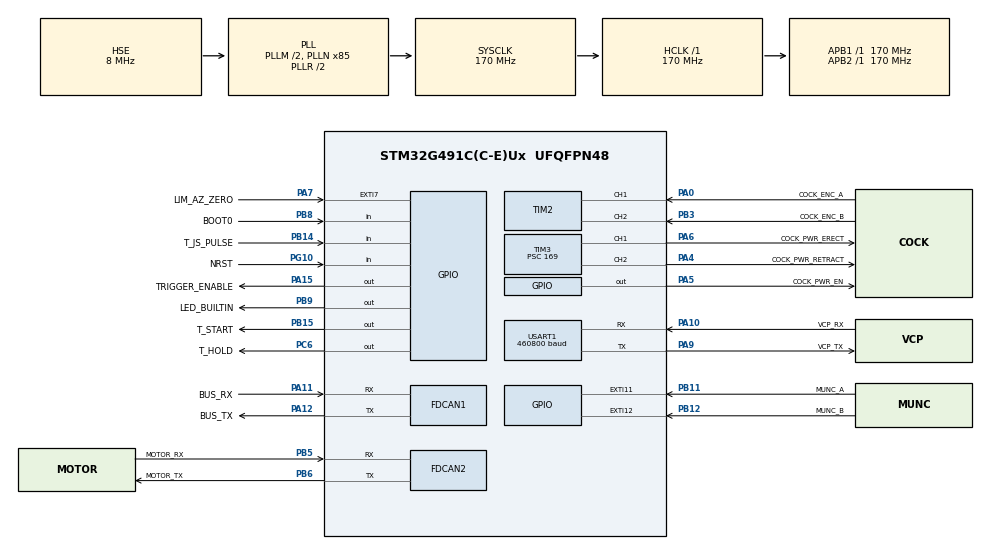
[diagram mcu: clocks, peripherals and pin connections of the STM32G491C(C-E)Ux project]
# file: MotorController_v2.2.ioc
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FDCAN1.CalculateBaudRateNominal=499999
FDCAN1.CalculateTimeBitNominal=2000
FDCAN1.CalculateTimeQuantumNominal=11.764705882352942
FDCAN1.ClockDivider=FDCAN_CLOCK_DIV1
FDCAN1.DataSyncJumpWidth=8
FDCAN1.DataTimeSeg1=8
FDCAN1.DataTimeSeg2=8
FDCAN1.ExtFiltersNbr=8
FDCAN1.NominalPrescaler=2
FDCAN1.NominalSyncJumpWidth=22
FDCAN1.NominalTimeSeg1=147
FDCAN1.NominalTimeSeg2=22
FDCAN1.StdFiltersNbr=28
FDCAN2.CalculateBaudRateNominal=999999
FDCAN2.CalculateTimeQuantumNominal=5.882352941176471
FDCAN2.DataPrescaler=1
FDCAN2.DataSyncJumpWidth=16
FDCAN2.DataTimeSeg1=17
FDCAN2.DataTimeSeg2=16
FDCAN2.ExtFiltersNbr=8
FDCAN2.FrameFormat=FDCAN_FRAME_CLASSIC
FDCAN2.NominalPrescaler=1
FDCAN2.NominalSyncJumpWidth=22
FDCAN2.NominalTimeSeg1=147
FDCAN2.NominalTimeSeg2=22
FDCAN2.StdFiltersNbr=28
FREERTOS.INCLUDE_uxTaskGetStackHighWaterMark2=1
FREERTOS.INCLUDE_vTaskDelayUntil=1
FREERTOS.Mutexes01=mx_motor_state,Dynamic,NULL;mx_weapon_state,Dynamic,NULL;mx_motor_ext_state,Dynamic,NULL
FREERTOS.Queues01=q_manager,6,uint16_t,0,Dynamic,NULL,NULL
FREERTOS.Tasks01=TManager,2,512,t_manager,As weak,NULL,Dynamic,NULL,NULL;TBus,-2,1024,t_bus,As external,NULL,Dynamic,NULL,NULL;TMotor,-1,1024,t_motor,As external,NULL,Dynamic,NULL,NULL;TWeapon,1,1024,t_weapon,As external,NULL,Dynamic,NULL,NULL
FREERTOS.Timers01=timWeapon,tim_weapon_callback,osTimerPeriodic,As external,NULL,Dynamic,NULL;timMotor,tim_motor_callback,osTimerPeriodic,As external,NULL,Dynamic,NULL
FREERTOS.configENABLE_FPU=1
FREERTOS.configMAX_TASK_NAME_LEN=64
FREERTOS.configMINIMAL_STACK_SIZE=256
FREERTOS.configTOTAL_HEAP_SIZE=0x10000
FREERTOS.configUSE_TIMERS=1
IWDG.Prescaler=IWDG_PRESCALER_256
IWDG.Reload=625
IWDG.Window=625
Mcu.Family=STM32G4
Mcu.Name=STM32G491C(C-E)Ux
Mcu.Package=UFQFPN48
Mcu.UserConstants=RTOS_USE_STACK_HIGH_WATER,0;START_ARR_60ms,6000;START_ARR_100ms,10000;START_ARR_300ms,30000
NVIC.EXTI15_10_IRQn=true\:5\:0\:false\:false\:false\:true\:true\:true\:true
NVIC.FDCAN1_IT0_IRQn=true\:5\:0\:true\:false\:true\:true\:true\:true\:true
NVIC.FDCAN2_IT0_IRQn=true\:5\:0\:true\:false\:true\:true\:true\:true\:true
NVIC.PriorityGroup=NVIC_PRIORITYGROUP_4
NVIC.TIM7_IRQn=true\:15\:0\:false\:false\:true\:false\:false\:true\:true
NVIC.TimeBase=TIM7_IRQn
NVIC.TimeBaseIP=TIM7
PA0.GPIO_Label=COCK_ENC_A
PA0.GPIO_PuPd=GPIO_PULLUP
PA0.Signal=S_TIM2_CH1
PA1.GPIO_Label=IMU_DE
PA1.Signal=USART2_DE
PA10.GPIO_Label=VCP_RX
PA10.GPIO_PuPd=GPIO_PULLUP
PA10.Mode=Asynchronous
PA10.Signal=USART1_RX
PA11.GPIO_Label=BUS_RX
PA11.GPIO_Speed=GPIO_SPEED_FREQ_VERY_HIGH
PA11.Mode=FDCAN_Activate
PA11.Signal=FDCAN1_RX
PA12.GPIO_Label=BUS_TX
PA12.GPIO_Speed=GPIO_SPEED_FREQ_VERY_HIGH
PA12.Mode=FDCAN_Activate
PA12.Signal=FDCAN1_TX
PA13.Mode=Serial_Wire
PA13.Signal=SYS_JTMS-SWDIO
PA14.Mode=Serial_Wire
PA14.Signal=SYS_JTCK-SWCLK
PA15.GPIO_Label=TRIGGER_ENABLE
PA15.GPIO_ModeDefaultOutputPP=GPIO_MODE_OUTPUT_PP
PA15.GPIO_PuPd=GPIO_NOPULL
PA15.PinState=GPIO_PIN_RESET
PA15.Signal=GPIO_Output
PA2.GPIO_Label=IMU_RX
PA2.Signal=USART2_TX
PA3.GPIO_Label=IMU_TX
PA3.GPIO_PuPd=GPIO_PULLUP
PA3.Signal=USART2_RX
PA4.GPIO_Label=COCK_PWR_RETRACT
PA4.Signal=S_TIM3_CH2
PA5.GPIO_Label=COCK_PWR_EN
PA5.GPIO_PuPd=GPIO_PULLDOWN
PA5.Signal=GPIO_Output
PA6.GPIO_Label=COCK_PWR_ERECT
PA6.Signal=S_TIM3_CH1
PA7.GPIO_Label=LIM_AZ_ZERO
PA7.GPIO_ModeDefaultEXTI=GPIO_MODE_IT_RISING_FALLING
PA7.GPIO_PuPd=GPIO_PULLUP
PA7.Signal=GPXTI7
PA9.GPIO_Label=VCP_TX
PA9.Mode=Asynchronous
PA9.Signal=USART1_TX
PB11.GPIO_Label=MUNC_A
PB11.GPIO_ModeDefaultEXTI=GPIO_MODE_IT_FALLING
PB11.GPIO_PuPd=GPIO_PULLUP
PB11.Signal=GPXTI11
PB12.GPIO_Label=MUNC_B
PB12.GPIO_ModeDefaultEXTI=GPIO_MODE_IT_FALLING
PB12.GPIO_PuPd=GPIO_PULLUP
PB12.Signal=GPXTI12
PB14.GPIO_Label=T_JS_PULSE
PB14.GPIO_PuPd=GPIO_PULLUP
PB14.Signal=GPIO_Input
PB15.GPIO_Label=T_START
PB15.Signal=GPIO_Output
PB3.GPIO_Label=COCK_ENC_B
PB3.GPIO_PuPd=GPIO_PULLUP
PB3.Signal=S_TIM2_CH2
PB5.GPIO_Label=MOTOR_RX
PB5.GPIO_Speed=GPIO_SPEED_FREQ_VERY_HIGH
PB5.Mode=FDCAN_Activate
PB5.Signal=FDCAN2_RX
PB6.GPIO_Label=MOTOR_TX
PB6.GPIO_Speed=GPIO_SPEED_FREQ_VERY_HIGH
PB6.Mode=FDCAN_Activate
PB6.Signal=FDCAN2_TX
PB8-BOOT0.GPIO_Label=BOOT0
PB8-BOOT0.GPIO_PuPd=GPIO_PULLDOWN
PB8-BOOT0.Signal=GPIO_Input
PB9.GPIO_Label=LED_BUILTIN
PB9.PinState=GPIO_PIN_SET
PB9.Signal=GPIO_Output
PC13.Signal=SYS_WKUP2
PC6.GPIO_Label=T_HOLD
PC6.Signal=GPIO_Output
PF0-OSC_IN.Mode=HSE-External-Oscillator
PF0-OSC_IN.Signal=RCC_OSC_IN
PF1-OSC_OUT.Mode=HSE-External-Oscillator
PF1-OSC_OUT.Signal=RCC_OSC_OUT
PG10-NRST.GPIO_Label=NRST
PG10-NRST.GPIO_PuPd=GPIO_PULLUP
PG10-NRST.Signal=GPIO_Input
ProjectManager.HeapSize=0x200
ProjectManager.StackSize=0x400
ProjectManager.TargetToolchain=STM32CubeIDE
RCC.ADC12Freq_Value=170000000
RCC.ADC345Freq_Value=170000000
RCC.AHBFreq_Value=170000000
RCC.APB1Freq_Value=170000000
RCC.APB1TimFreq_Value=170000000
RCC.APB2Freq_Value=170000000
RCC.APB2TimFreq_Value=170000000
RCC.CortexFreq_Value=170000000
RCC.EXTERNAL_CLOCK_VALUE=12288000
RCC.EnbaleCSS=true
RCC.HCLKFreq_Value=170000000
RCC.HSE_VALUE=8000000
RCC.HSI48_VALUE=48000000
RCC.HSI_VALUE=16000000
RCC.LSE_VALUE=32768
RCC.PLLM=RCC_PLLM_DIV2
RCC.PLLN=85
RCC.PLLSourceVirtual=RCC_PLLSOURCE_HSE
RCC.SYSCLKFreq_VALUE=170000000
RCC.SYSCLKSource=RCC_SYSCLKSOURCE_PLLCLK
RCC.USBFreq_Value=48000000
RCC.VCOOutputFreq_Value=340000000
SH.S_TIM2_CH1.0=TIM2_CH1,Encoder_Interface
SH.S_TIM2_CH2.0=TIM2_CH2,Encoder_Interface
SH.S_TIM3_CH1.0=TIM3_CH1,PWM Generation1 CH1
SH.S_TIM3_CH2.0=TIM3_CH2,PWM Generation2 CH2
TIM3.Channel-PWM\ Generation1\ CH1=TIM_CHANNEL_1
TIM3.Channel-PWM\ Generation2\ CH2=TIM_CHANNEL_2
TIM3.PeriodNoDither=999
TIM3.Prescaler=169
USART1.BaudRate=460800
USART1.VirtualMode-Asynchronous=VM_ASYNC
VP_FREERTOS_VS_CMSIS_V1.Mode=CMSIS_V1
VP_IWDG_VS_IWDG.Mode=IWDG_Activate
VP_SYS_VS_DBSignals.Mode=DisableDeadBatterySignals
VP_SYS_VS_tim7.Mode=TIM7
VP_TIM3_VS_ClockSourceINT.Mode=Internal
board=custom

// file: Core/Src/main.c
/* USER CODE BEGIN Header */
/**
 ******************************************************************************
 * @file           : main.c
 * @brief          : Main program body
 ******************************************************************************
 * @attention
 *
 * Copyright (c) 2022 STMicroelectronics.
 * All rights reserved.
 *
 * This software is licensed under terms that can be found in the LICENSE file
 * in the root directory of this software component.
 * If no LICENSE file comes with this software, it is provided AS-IS.
 *
 ******************************************************************************
 */
/* USER CODE END Header */
#include "main.h"
#include "cmsis_os.h"
#include "fdcan.h"
#include "iwdg.h"
#include "tim.h"
#include "usart.h"
#include "gpio.h"

/* USER CODE BEGIN Includes */
#include "app/common.h"
/* USER CODE END Includes */

void SystemClock_Config(void);
void MX_FREERTOS_Init(void);

int main(void)
{
  /* USER CODE BEGIN 1 */
	reset_source_init();
  /* USER CODE END 1 */

  /* MCU Configuration--------------------------------------------------------*/

  /* Reset of all peripherals, Initializes the Flash interface and the Systick. */
  HAL_Init();

  /* Configure the system clock */
  SystemClock_Config();

  /* Initialize all configured peripherals */
  MX_GPIO_Init();
  MX_USART1_UART_Init();
  MX_TIM2_Init();
  MX_TIM3_Init();
  MX_FDCAN1_Init();
  MX_FDCAN2_Init();
  MX_IWDG_Init();
  /* USER CODE BEGIN 2 */
	main_c_init();

  /* USER CODE END 2 */

  /* Call init function for freertos objects (in freertos.c) */
  MX_FREERTOS_Init();

  /* Start scheduler */
  osKernelStart();

  /* We should never get here as control is now taken by the scheduler */
  /* Infinite loop */
	while (1) {

	}
}

void SystemClock_Config(void)
{
  RCC_OscInitTypeDef RCC_OscInitStruct = {0};
  RCC_ClkInitTypeDef RCC_ClkInitStruct = {0};

  /** Configure the main internal regulator output voltage
  */
  HAL_PWREx_ControlVoltageScaling(PWR_REGULATOR_VOLTAGE_SCALE1_BOOST);

  /** Initializes the RCC Oscillators according to the specified parameters
  * in the RCC_OscInitTypeDef structure.
  */
  RCC_OscInitStruct.OscillatorType = RCC_OSCILLATORTYPE_LSI|RCC_OSCILLATORTYPE_HSE;
  RCC_OscInitStruct.HSEState = RCC_HSE_ON;
  RCC_OscInitStruct.LSIState = RCC_LSI_ON;
  RCC_OscInitStruct.PLL.PLLState = RCC_PLL_ON;
  RCC_OscInitStruct.PLL.PLLSource = RCC_PLLSOURCE_HSE;
  RCC_OscInitStruct.PLL.PLLM = RCC_PLLM_DIV2;
  RCC_OscInitStruct.PLL.PLLN = 85;
  RCC_OscInitStruct.PLL.PLLP = RCC_PLLP_DIV2;
  RCC_OscInitStruct.PLL.PLLQ = RCC_PLLQ_DIV2;
  RCC_OscInitStruct.PLL.PLLR = RCC_PLLR_DIV2;
  if (HAL_RCC_OscConfig(&RCC_OscInitStruct) != HAL_OK)
  {
    Error_Handler();
  }

  /** Initializes the CPU, AHB and APB buses clocks
  */
  RCC_ClkInitStruct.ClockType = RCC_CLOCKTYPE_HCLK|RCC_CLOCKTYPE_SYSCLK
                              |RCC_CLOCKTYPE_PCLK1|RCC_CLOCKTYPE_PCLK2;
  RCC_ClkInitStruct.SYSCLKSource = RCC_SYSCLKSOURCE_PLLCLK;
  RCC_ClkInitStruct.AHBCLKDivider = RCC_SYSCLK_DIV1;
  RCC_ClkInitStruct.APB1CLKDivider = RCC_HCLK_DIV1;
  RCC_ClkInitStruct.APB2CLKDivider = RCC_HCLK_DIV1;

  if (HAL_RCC_ClockConfig(&RCC_ClkInitStruct, FLASH_LATENCY_4) != HAL_OK)
  {
    Error_Handler();
  }

  /** Enables the Clock Security System
  */
  HAL_RCC_EnableCSS();
}

void HAL_TIM_PeriodElapsedCallback(TIM_HandleTypeDef *htim)
{
  if (htim->Instance == TIM7) {
    HAL_IncTick();
  }
}

void Error_Handler(void)
{
	__disable_irq();
	while (1) {
	}
}

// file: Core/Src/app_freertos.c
/* USER CODE BEGIN Header */
/**
 ******************************************************************************
 * File Name          : app_freertos.c
 * Description        : Code for freertos applications
 ******************************************************************************
 * @attention
 *
 * Copyright (c) 2022 STMicroelectronics.
 * All rights reserved.
 *
 * This software is licensed under terms that can be found in the LICENSE file
 * in the root directory of this software component.
 * If no LICENSE file comes with this software, it is provided AS-IS.
 *
 ******************************************************************************
 */
/* USER CODE END Header */

#include "FreeRTOS.h"
#include "task.h"
#include "main.h"
#include "cmsis_os.h"

/* USER CODE BEGIN Includes */
#include "app/common.h"
/* USER CODE END Includes */

/* USER CODE BEGIN Variables */
osMailQId mail_busHandle;
osMailQId mail_motorHandle;
osMailQId mail_motorExtHandle;
osMailQId mail_weaponHandle;

/* USER CODE END Variables */
osThreadId TManagerHandle;
osThreadId TBusHandle;
osThreadId TMotorHandle;
osThreadId TWeaponHandle;
osMessageQId q_managerHandle;
osTimerId timWeaponHandle;
osTimerId timMotorHandle;
osMutexId mx_motor_stateHandle;
osMutexId mx_weapon_stateHandle;
osMutexId mx_motor_ext_stateHandle;

/* USER CODE BEGIN FunctionPrototypes */
static void mail_setup();

/* USER CODE END FunctionPrototypes */

void t_manager(void const * argument);
extern void t_bus(void const * argument);
extern void t_motor(void const * argument);
extern void t_weapon(void const * argument);
extern void tim_weapon_callback(void const * argument);
extern void tim_motor_callback(void const * argument);

void MX_FREERTOS_Init(void); /* (MISRA C 2004 rule 8.1) */

void MX_FREERTOS_Init(void) {
  /* Create the mutex(es) */
  /* definition and creation of mx_motor_state */
  osMutexDef(mx_motor_state);
  mx_motor_stateHandle = osMutexCreate(osMutex(mx_motor_state));

  /* definition and creation of mx_weapon_state */
  osMutexDef(mx_weapon_state);
  mx_weapon_stateHandle = osMutexCreate(osMutex(mx_weapon_state));

  /* definition and creation of mx_motor_ext_state */
  osMutexDef(mx_motor_ext_state);
  mx_motor_ext_stateHandle = osMutexCreate(osMutex(mx_motor_ext_state));

  /* Create the timer(s) */
  /* definition and creation of timWeapon */
  osTimerDef(timWeapon, tim_weapon_callback);
  timWeaponHandle = osTimerCreate(osTimer(timWeapon), osTimerPeriodic, NULL);

  /* definition and creation of timMotor */
  osTimerDef(timMotor, tim_motor_callback);
  timMotorHandle = osTimerCreate(osTimer(timMotor), osTimerPeriodic, NULL);

  /* Create the queue(s) */
  /* definition and creation of q_manager */
  osMessageQDef(q_manager, 6, uint16_t);
  q_managerHandle = osMessageCreate(osMessageQ(q_manager), NULL);

  /* USER CODE BEGIN RTOS_QUEUES */
	/* add queues, ... */
	mail_setup();

  /* USER CODE END RTOS_QUEUES */

  /* Create the thread(s) */
  /* definition and creation of TManager */
  osThreadDef(TManager, t_manager, osPriorityHigh, 0, 512);
  TManagerHandle = osThreadCreate(osThread(TManager), NULL);

  /* definition and creation of TBus */
  osThreadDef(TBus, t_bus, osPriorityLow, 0, 1024);
  TBusHandle = osThreadCreate(osThread(TBus), NULL);

  /* definition and creation of TMotor */
  osThreadDef(TMotor, t_motor, osPriorityBelowNormal, 0, 1024);
  TMotorHandle = osThreadCreate(osThread(TMotor), NULL);

  /* definition and creation of TWeapon */
  osThreadDef(TWeapon, t_weapon, osPriorityAboveNormal, 0, 1024);
  TWeaponHandle = osThreadCreate(osThread(TWeapon), NULL);

}

__weak void t_manager(void const * argument)
{
	for ( ;; ) {
		osDelay(1);
	}
}

/* USER CODE BEGIN Application */
osMessageQId opt_get_queue(const Queue_ID qID)
{
	switch (qID)
	{
	case Q_MANAGER_NOTIF:
		return q_managerHandle;
	default:
		return 0;
	}
}

osMailQId mtr_get_mail(const Mail_ID id)
{
	if (id == Mail_Bus_id)
		return mail_busHandle;
	else if (id == Mail_Motor_id)
		return mail_motorHandle;
	else if (id == Mail_Weapon_id)
		return mail_weaponHandle;
	else if (id == Mail_Motor_Ext_id)
		return mail_motorExtHandle;

	return NULL;
}

osTimerId mtr_get_timer(const Timer_ID tID)
{
	switch (tID)
	{
	case Tim_Weapon_id:
		return timWeaponHandle;
	case Tim_Motor_id:
		return timMotorHandle;
	default:
		return NULL;
	}
}

osMutexId mtr_get_mutex(const Mutex_ID mId)
{
	switch (mId)
	{
	case Mutex_Motor_id:
		return mx_motor_stateHandle;
	case Mutex_motor_ext_id:
		return mx_motor_ext_stateHandle;
	case Mutex_Weapon_id:
		return mx_weapon_stateHandle;
	default:
		return NULL;
	}
}

static void mail_setup()
{
	/* Create the mail queue used by the command_proc tasks to pass the struct MAIL_Bus_t */
	osMailQDef(mail_bus, 10, MAIL_Bus_t); /* Define mail queue */
	mail_busHandle = osMailCreate(osMailQ(mail_bus), NULL); /* create mail queue */

	/* Create the mail queue used by the command_proc tasks to pass the struct MAIL_Motor_t */
	osMailQDef(mail_motor, 20, MAIL_Motor_t); /* Define mail queue */
	mail_motorHandle = osMailCreate(osMailQ(mail_motor), NULL); /* create mail queue */

	/* Create the mail queue used by the command_proc tasks to pass the struct MAIL_Motor_t */
	osMailQDef(mail_motor_ext, 10, MAIL_Motor_Ext_t); /* Define mail queue */
	mail_motorExtHandle = osMailCreate(osMailQ(mail_motor_ext), NULL); /* create mail queue */

	/* Create the mail queue used by the command_proc tasks to pass the struct MAIL_Weapon_t */
	osMailQDef(mail_weapon, 10, MAIL_Weapon_t); /* Define mail queue */
	mail_weaponHandle = osMailCreate(osMailQ(mail_weapon), NULL); /* create mail queue */

}
/* USER CODE END Application */
